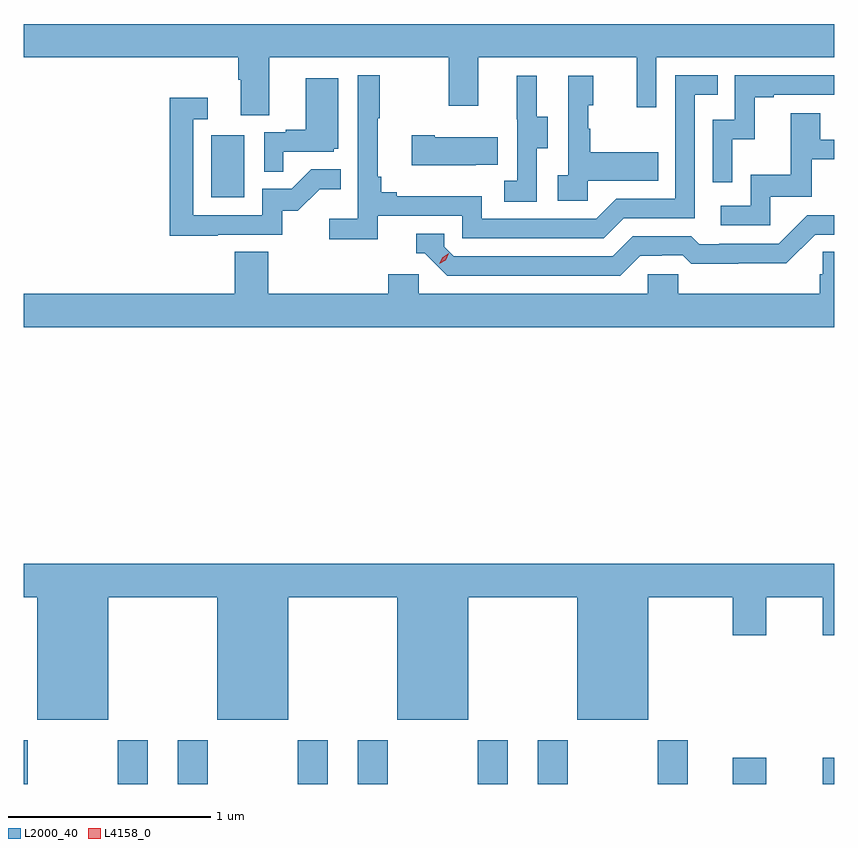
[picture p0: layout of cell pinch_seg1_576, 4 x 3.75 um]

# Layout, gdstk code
import gdstk
lib = gdstk.Library(unit=1e-6, precision=1e-09)
def R(c, l, rs):  # rectangles x0, y0, x1, y1
    for r in rs: c.add(gdstk.rectangle(r[:2], r[2:], *l))
def A(c, l, x, y, w, h, nx, ny, dx, dy):  # array of equal rectangles
    R(c, l, [(x+i*dx, y+j*dy, x+i*dx+w, y+j*dy+h) for i in range(nx) for j in range(ny)])
def P(c, l, *ps):  # polygons
    for p in ps: c.add(gdstk.Polygon(p, *l))
L2000_40 = (2000, 40)
L4158_0 = (4158, 0)

pinch_seg1_576 = lib.new_cell('pinch_seg1_576')
A(pinch_seg1_576, L2000_40, 1053.304, 501.526, 0.147, 0.216, 4, 1, 0.888, 0)
A(pinch_seg1_576, L2000_40, 1053.599, 501.526, 0.148, 0.216, 3, 1, 0.888, 0)
R(pinch_seg1_576, L2000_40, [(1052.839,501.526,1052.859,501.742), (1056.338,501.526,1056.502,501.655), (1056.782,501.526,1056.839,501.655), (1053.764,504.42,1053.928,504.727)])
P(pinch_seg1_576, L2000_40, [(1054.051,505.112),(1054.936,505.112),(1054.936,504.873),(1055.083,504.873),(1055.083,505.112),(1055.864,505.112),(1055.864,504.864),(1055.961,504.864),(1055.961,505.112),(1056.839,505.112),(1056.839,505.276),(1052.839,505.276),(1052.839,505.112),(1053.899,505.112),(1053.899,505),(1053.911,505),(1053.911,504.826),(1054.051,504.826)],
  [(1054.586,504.33),(1055.004,504.33),(1055.004,504.219),(1055.701,504.219),(1055.8,504.318),(1056.15,504.318),(1056.15,504.927),(1056.263,504.927),(1056.263,505.023),(1056.054,505.023),(1056.054,504.414),(1055.763,504.414),(1055.664,504.315),(1055.1,504.315),(1055.1,504.427),(1054.681,504.427),(1054.681,504.446),(1054.604,504.446),(1054.604,504.523),(1054.585,504.523),(1054.585,504.811),(1054.597,504.811),(1054.597,505.024),(1054.488,505.024),(1054.488,504.316),(1054.347,504.316),(1054.347,504.214),(1054.586,504.214)],
  [(1056.336,504.707),(1056.446,504.707),(1056.446,504.915),(1056.541,504.915),(1056.541,504.927),(1056.839,504.927),(1056.839,505.023),(1056.348,505.023),(1056.348,504.804),(1056.24,504.804),(1056.24,504.495),(1056.336,504.495)],
  [(1055.37,504.664),(1055.425,504.664),(1055.425,504.819),(1055.371,504.819),(1055.371,505.021),(1055.273,505.021),(1055.273,504.807),(1055.274,504.807),(1055.274,504.503),(1055.211,504.503),(1055.211,504.4),(1055.37,504.4)],
  [(1055.622,504.503),(1055.969,504.503),(1055.969,504.643),(1055.635,504.643),(1055.635,504.758),(1055.625,504.758),(1055.625,504.876),(1055.65,504.876),(1055.65,505.021),(1055.526,505.021),(1055.526,504.53),(1055.475,504.53),(1055.475,504.405),(1055.622,504.405)],
  [(1054.121,504.645),(1054.368,504.645),(1054.368,504.66),(1054.39,504.66),(1054.39,505.009),(1054.232,505.009),(1054.232,504.754),(1054.133,504.754),(1054.133,504.741),(1054.026,504.741),(1054.026,504.547),(1054.121,504.547)],
  [(1053.797,504.237),(1054.116,504.237),(1054.116,504.354),(1054.192,504.354),(1054.299,504.461),(1054.403,504.461),(1054.403,504.56),(1054.259,504.56),(1054.161,504.462),(1054.017,504.462),(1054.017,504.333),(1053.675,504.333),(1053.675,504.807),(1053.748,504.807),(1053.748,504.913),(1053.559,504.913),(1053.559,504.232),(1053.797,504.232)],
  [(1056.522,504.423),(1056.727,504.423),(1056.727,504.609),(1056.839,504.609),(1056.839,504.705),(1056.769,504.705),(1056.769,504.835),(1056.625,504.835),(1056.625,504.532),(1056.426,504.532),(1056.426,504.378),(1056.279,504.378),(1056.279,504.282),(1056.522,504.282)],
  [(1055.069,504.581),(1055.177,504.581),(1055.177,504.718),(1054.867,504.718),(1054.867,504.726),(1054.755,504.726),(1054.755,504.578),(1055.069,504.578)],
  [(1055.881,504.132),(1055.988,504.132),(1055.988,504.135),(1056.091,504.135),(1056.133,504.093),(1056.366,504.093),(1056.366,504.095),(1056.602,504.095),(1056.744,504.237),(1056.839,504.237),(1056.839,504.333),(1056.705,504.333),(1056.564,504.192),(1056.271,504.192),(1056.271,504.189),(1056.172,504.189),(1056.133,504.228),(1055.844,504.228),(1055.745,504.129),(1054.962,504.129),(1054.914,504.177),(1054.914,504.24),(1054.775,504.24),(1054.775,504.144),(1054.818,504.144),(1054.929,504.033),(1055.782,504.033)],
  [(1056.839,504.152),(1056.781,504.152),(1056.781,504.042),(1056.767,504.042),(1056.767,503.944),(1056.069,503.944),(1056.069,504.042),(1055.919,504.042),(1055.919,503.944),(1054.788,503.944),(1054.788,504.042),(1054.637,504.042),(1054.637,503.944),(1054.046,503.944),(1054.046,504.152),(1053.881,504.152),(1053.881,503.944),(1052.839,503.944),(1052.839,503.78),(1056.839,503.78)],
  [(1053.256,502.448),(1053.794,502.448),(1053.794,501.842),(1054.144,501.842),(1054.144,502.448),(1054.682,502.448),(1054.682,501.842),(1055.032,501.842),(1055.032,502.448),(1055.57,502.448),(1055.57,501.842),(1055.92,501.842),(1055.92,502.448),(1056.338,502.448),(1056.338,502.26),(1056.502,502.26),(1056.502,502.448),(1056.782,502.448),(1056.782,502.26),(1056.839,502.26),(1056.839,502.612),(1052.839,502.612),(1052.839,502.448),(1052.906,502.448),(1052.906,501.842),(1053.256,501.842)])
P(pinch_seg1_576, L4158_0, [(1054.89,504.092),(1054.89,504.092),(1054.906,504.125),(1054.937,504.144),(1054.937,504.144),(1054.937,504.144),(1054.921,504.111),(1054.89,504.092)])

lib.write_gds('pinch_seg1_576.gds')
